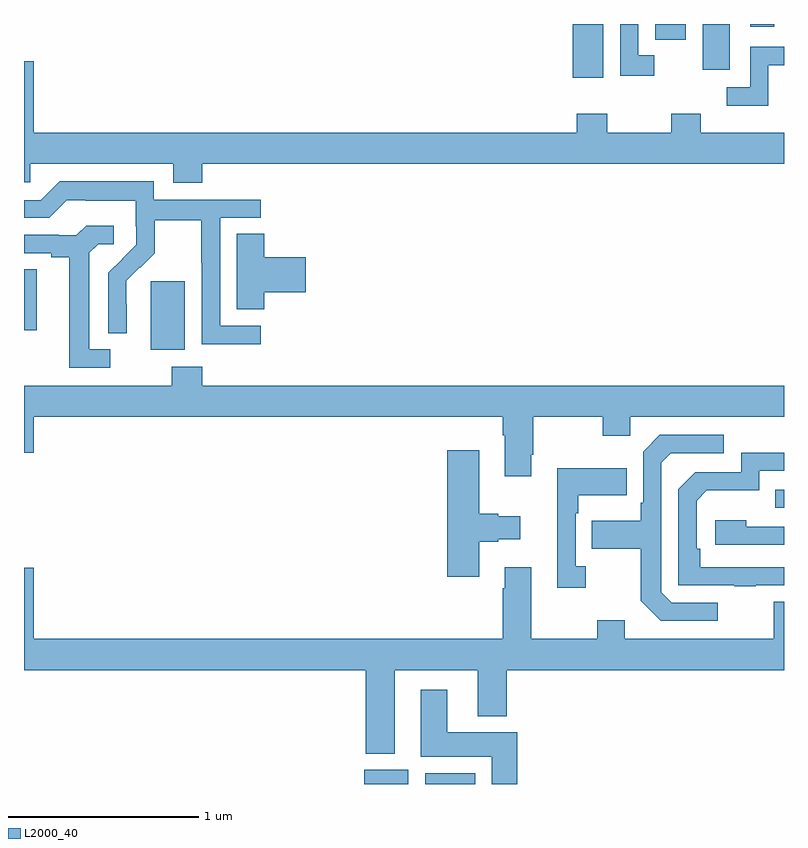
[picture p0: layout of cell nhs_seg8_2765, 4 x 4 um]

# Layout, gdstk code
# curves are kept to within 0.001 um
import gdstk
lib = gdstk.Library(unit=1e-6, precision=1e-09)
def R(c, l, rs):  # rectangles x0, y0, x1, y1
    for r in rs: c.add(gdstk.rectangle(r[:2], r[2:], *l))
def P(c, l, *ps):  # polygons
    for p in ps: c.add(gdstk.Polygon(p, *l))
L2000_40 = (2000, 40)

nhs_seg8_2765 = lib.new_cell('nhs_seg8_2765')
R(nhs_seg8_2765, L2000_40, [(286.79,1115.9,287.023,1115.974), (287.111,1115.9,287.374,1115.956), (288.955,1117.353,289,1117.449), (285.668,1118.186,285.847,1118.547), (285,1118.289,285.067,1118.609), (287.888,1119.618,288.049,1119.9), (288.572,1119.66,288.715,1119.9), (288.323,1119.816,288.484,1119.9), (288.822,1119.885,288.949,1119.9)])
P(nhs_seg8_2765, L2000_40, [(288.316,1119.735),(288.234,1119.735),(288.234,1119.9),(288.138,1119.9),(288.138,1119.627),(288.316,1119.627)],
  [(288.918,1119.684),(289,1119.684),(289,1119.78),(288.822,1119.78),(288.822,1119.567),(288.699,1119.567),(288.699,1119.47),(288.918,1119.47)],
  [(285.938,1119.164),(289,1119.164),(289,1119.328),(288.561,1119.328),(288.561,1119.427),(288.406,1119.427),(288.406,1119.328),(288.069,1119.328),(288.069,1119.427),(287.909,1119.427),(287.909,1119.328),(285.052,1119.328),(285.052,1119.703),(285,1119.703),(285,1119.066),(285.033,1119.066),(285.033,1119.164),(285.785,1119.164),(285.785,1119.065),(285.938,1119.065)],
  [(286.246,1118.313),(286.032,1118.313),(286.032,1118.88),(286.246,1118.88),(286.246,1118.976),(285.684,1118.976),(285.684,1119.073),(285.187,1119.073),(285.087,1118.973),(285,1118.973),(285,1118.88),(285.132,1118.88),(285.225,1118.973),(285.325,1118.973),(285.325,1118.969),(285.588,1118.969),(285.588,1118.835),(285.59,1118.835),(285.59,1118.738),(285.444,1118.59),(285.444,1118.272),(285.54,1118.272),(285.539,1118.549),(285.609,1118.619),(285.612,1118.616),(285.689,1118.693),(285.689,1118.868),(285.934,1118.868),(285.934,1118.644),(285.936,1118.644),(285.936,1118.215),(286.246,1118.215)],
  [(285.454,1118.187),(285.343,1118.187),(285.343,1118.695),(285.39,1118.742),(285.472,1118.742),(285.472,1118.839),(285.328,1118.839),(285.276,1118.787),(285.182,1118.787),(285.182,1118.79),(285,1118.79),(285,1118.694),(285.143,1118.694),(285.143,1118.672),(285.239,1118.672),(285.239,1118.091),(285.454,1118.091)],
  [(286.265,1118.489),(286.483,1118.489),(286.483,1118.672),(286.265,1118.672),(286.265,1118.795),(286.121,1118.795),(286.121,1118.398),(286.265,1118.398)],
  [(287.671,1117.633),(287.679,1117.633),(287.679,1117.832),(288.046,1117.832),(288.046,1117.733),(288.192,1117.733),(288.192,1117.832),(289,1117.832),(289,1117.996),(285.938,1117.996),(285.938,1118.095),(285.778,1118.095),(285.778,1117.996),(285,1117.996),(285,1117.644),(285.052,1117.644),(285.052,1117.832),(287.519,1117.832),(287.519,1117.736),(287.531,1117.736),(287.531,1117.521),(287.671,1117.521)],
  [(288.652,1116.855),(288.408,1116.855),(288.354,1116.909),(288.354,1117.59),(288.405,1117.641),(288.682,1117.641),(288.682,1117.737),(288.345,1117.737),(288.258,1117.65),(288.258,1117.381),(288.246,1117.381),(288.246,1117.285),(287.989,1117.285),(287.989,1117.138),(288.246,1117.138),(288.246,1116.865),(288.351,1116.759),(288.652,1116.759)],
  [(287.395,1117.175),(287.495,1117.175),(287.495,1117.187),(287.611,1117.187),(287.611,1117.309),(287.495,1117.309),(287.495,1117.322),(287.395,1117.322),(287.395,1117.657),(287.228,1117.657),(287.228,1116.99),(287.395,1116.99)],
  [(288.851,1116.945),(289,1116.945),(289,1117.041),(288.56,1117.041),(288.56,1117.138),(288.54,1117.138),(288.54,1117.392),(288.593,1117.445),(288.87,1117.445),(288.87,1117.548),(289,1117.548),(289,1117.644),(288.774,1117.644),(288.774,1117.542),(288.534,1117.542),(288.444,1117.452),(288.444,1116.945),(288.739,1116.945),(288.739,1116.94),(288.851,1116.94)],
  [(287.956,1117.046),(287.904,1117.046),(287.904,1117.325),(287.917,1117.325),(287.917,1117.421),(288.173,1117.421),(288.173,1117.561),(287.807,1117.561),(287.807,1116.933),(287.956,1116.933)],
  [(289,1117.254),(288.8,1117.254),(288.8,1117.288),(288.639,1117.288),(288.639,1117.158),(289,1117.158)],
  [(286.951,1116.5),(287.387,1116.5),(287.387,1116.257),(287.54,1116.257),(287.54,1116.5),(289,1116.5),(289,1116.859),(288.947,1116.859),(288.947,1116.664),(288.163,1116.664),(288.163,1116.763),(288.016,1116.763),(288.016,1116.664),(287.671,1116.664),(287.671,1117.042),(287.531,1117.042),(287.531,1116.929),(287.519,1116.929),(287.519,1116.664),(285.052,1116.664),(285.052,1117.039),(285,1117.039),(285,1116.5),(286.799,1116.5),(286.799,1116.059),(286.951,1116.059)],
  [(287.597,1116.172),(287.227,1116.172),(287.227,1116.397),(287.087,1116.397),(287.087,1116.044),(287.462,1116.044),(287.462,1115.9),(287.597,1115.9)])

lib.write_gds('nhs_seg8_2765.gds')
